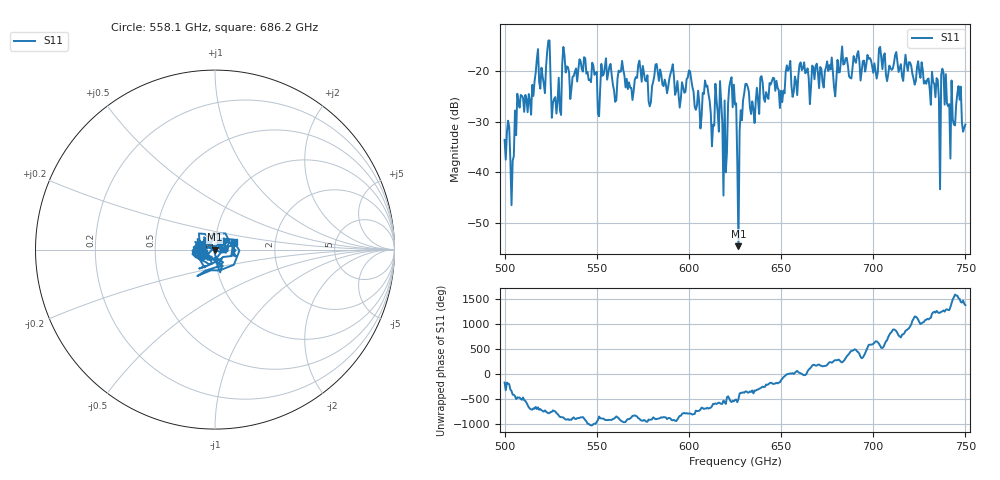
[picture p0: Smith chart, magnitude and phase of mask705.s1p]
!Created with skrf (http://scikit-rf.org).
# GHz S MA R 50.0
!freq magS11 angS11
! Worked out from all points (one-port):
!   401 points, 500 GHz to 750 GHz, reference 50 ohm
!   lowest |S11| = -54.7 dB at 626.9 GHz (marker M1), VSWR 1.00, Z = 49.9 - j0.123 ohm
!   |S11| at or under -10 dB: start of sweep to end of sweep
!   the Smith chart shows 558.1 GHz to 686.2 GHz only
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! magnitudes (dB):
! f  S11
! 500 GHz  -33.6
! 503.8 GHz  -46.6
! 508.1 GHz  -27.2
! 513.1 GHz  -24.5
! 517.5 GHz  -17.5
! 523.8 GHz  -13.9
! 526.9 GHz  -25.4
! 531.2 GHz  -18.5
! 562.5 GHz  -20.1
! 593.8 GHz  -21.9
! 609.4 GHz  -23.0
! 612.5 GHz  -34.8
! 616.2 GHz  -32.0
! 619.4 GHz  -25.8
! 622.5 GHz  -21.9
! 625 GHz  -26.6
! 626.9 GHz  -54.7
! 631.2 GHz  -22.5
! 634.4 GHz  -26.0
! 656.2 GHz  -25.1
! 687.5 GHz  -21.3
! 718.8 GHz  -19.9
! 733.8 GHz  -25.1
! 735 GHz  -21.7
! 738.1 GHz  -20.3
! 743.1 GHz  -29.5
! 746.2 GHz  -22.9
! 750 GHz  -30.5
